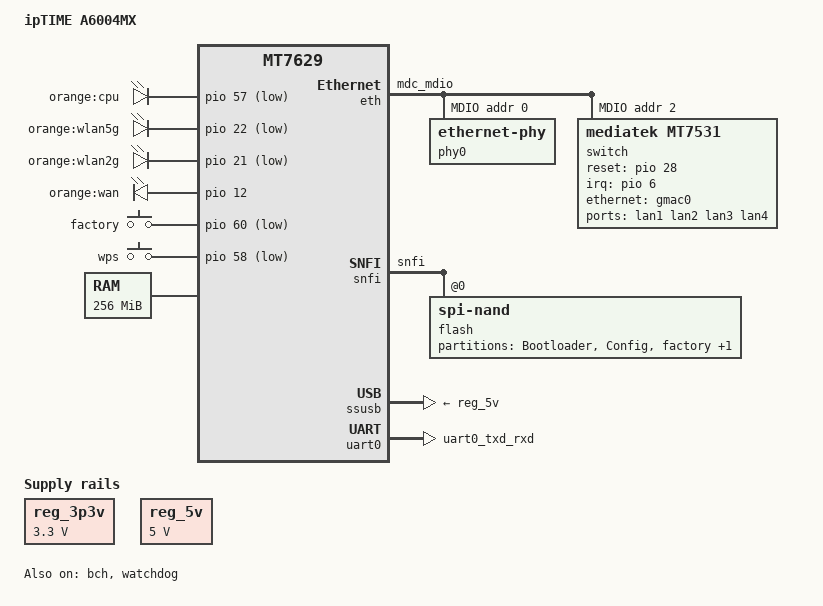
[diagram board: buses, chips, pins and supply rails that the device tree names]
// SPDX-License-Identifier: GPL-2.0

/dts-v1/;
#include <dt-bindings/input/input.h>
#include "mt7629.dtsi"

/ {
	model = "ipTIME A6004MX";
	compatible = "iptime,a6004mx", "mediatek,mt7629";

	aliases {
		led-boot = &led_cpu;
		led-failsafe = &led_cpu;
		led-running = &led_cpu;
		led-upgrade = &led_cpu;
		serial0 = &uart0;
	};

	chosen {
		stdout-path = "serial0:115200n8";
		bootargs-override = "console=ttyS0,115200n8";
	};

	leds {
		compatible = "gpio-leds";

		led_cpu: cpu {
			label = "orange:cpu";
			gpios = <&pio 57 GPIO_ACTIVE_LOW>;
		};

		wlan5g {
			label = "orange:wlan5g";
			gpios = <&pio 22 GPIO_ACTIVE_LOW>;
			// linux,default-trigger = "phy0radio";
		};

		wlan2g {
			label = "orange:wlan2g";
			gpios = <&pio 21 GPIO_ACTIVE_LOW>;
			// linux,default-trigger = "phy1radio";
		};

		wan {
			label = "orange:wan";
			gpios = <&pio 12 GPIO_ACTIVE_HIGH>;
		};
	};

	keys {
		compatible = "gpio-keys";

		reset {
			label = "factory";
			linux,code = <KEY_RESTART>;
			gpios = <&pio 60 GPIO_ACTIVE_LOW>;
		};

		wps {
			label = "wps";
			linux,code = <KEY_WPS_BUTTON>;
			gpios = <&pio 58 GPIO_ACTIVE_LOW>;
		};
	};

	memory@40000000 {
		device_type = "memory";
		reg = <0x40000000 0x10000000>;
	};

	reg_3p3v: regulator-3p3v {
		compatible = "regulator-fixed";
		regulator-name = "fixed-3.3V";
		regulator-min-microvolt = <3300000>;
		regulator-max-microvolt = <3300000>;
		regulator-boot-on;
		regulator-always-on;
	};

	reg_5v: regulator-5v {
		compatible = "regulator-fixed";
		regulator-name = "fixed-5V";
		regulator-min-microvolt = <5000000>;
		regulator-max-microvolt = <5000000>;
		regulator-boot-on;
		regulator-always-on;
	};
};

&eth {
	pinctrl-names = "default";
	pinctrl-0 = <&eth_pins>;
	pinctrl-1 = <&ephy_leds_pins>;
	status = "okay";

	gmac0: mac@0 {
		compatible = "mediatek,eth-mac";
		reg = <0>;
		phy-mode = "2500base-x";
		nvmem-cells = <&macaddr_factory_4>;
		nvmem-cell-names = "mac-address";
		mac-address-increment = <3>;

		fixed-link {
			speed = <2500>;
			full-duplex;
			pause;
		};
	};

	gmac1: mac@1 {
		compatible = "mediatek,eth-mac";
		reg = <1>;
		phy-mode = "gmii";
		phy-handle = <&phy0>;
		nvmem-cells = <&macaddr_factory_4>;
		nvmem-cell-names = "mac-address";
		mac-address-increment = <1>;
	};

	mdio: mdio-bus {
		#address-cells = <1>;
		#size-cells = <0>;

		phy0: ethernet-phy@0 {
			reg = <0>;
		};

		switch@2 {
			compatible = "mediatek,mt7531";
			reg = <2>;
			reset-gpios = <&pio 28 0>;
			interrupt-controller;
			#interrupt-cells = <1>;
			interrupt-parent = <&pio>;
			interrupts = <6 IRQ_TYPE_LEVEL_HIGH>;

			ports {
				#address-cells = <1>;
				#size-cells = <0>;

				port@0 {
					reg = <0>;
					label = "lan1";
				};

				port@1 {
					reg = <1>;
					label = "lan2";
				};

				port@2 {
					reg = <2>;
					label = "lan3";
				};

				port@3 {
					reg = <3>;
					label = "lan4";
				};

				port@6 {
					reg = <6>;
					ethernet = <&gmac0>;
					phy-mode = "2500base-x";

					fixed-link {
						speed = <2500>;
						full-duplex;
						pause;
					};
				};
			};
		};
	};
};

&bch {
	status = "okay";
};

&snfi {
	pinctrl-names = "default";
	pinctrl-0 = <&serial_nand_pins>;
	status = "okay";
	flash@0 {
		compatible = "spi-nand";
		reg = <0>;
		spi-tx-bus-width = <4>;
		spi-rx-bus-width = <4>;
		nand-ecc-engine = <&snfi>;
		mediatek,bmt-v2;

		partitions {
			compatible = "fixed-partitions";
			#address-cells = <1>;
			#size-cells = <1>;

			partition@0 {
				label = "Bootloader";
				reg = <0x0 0x100000>;
				read-only;
			};

			partition@100000 {
				label = "Config";
				reg = <0x100000 0x40000>;
			};

			partition@140000 {
				label = "factory";
				reg = <0x140000 0x80000>;
				read-only;

				compatible = "nvmem-cells";
				#address-cells = <1>;
				#size-cells = <1>;

				macaddr_factory_4: macaddr@4 {
					reg = <0x4 0x6>;
				};
			};

			partition@1c0000 {
				label = "firmware";
				reg = <0x1c0000 0x7400000>;
				compatible = "denx,fit";
				openwrt,fit-offset = <0x800>;
			};
		};
	};
};

&pio {
	eth_pins: eth-pins {
		mux {
			function = "eth";
			groups = "mdc_mdio";
		};
	};

	ephy_leds_pins: ephy-leds-pins {
		mux {
			function = "led";
			groups = "ephy_leds";
		};
	};

	/* Serial NAND is shared pin with SPI-NOR */
	serial_nand_pins: serial-nand-pins {
		mux {
			function = "flash";
			groups = "snfi";
		};
	};

	uart0_pins: uart0-pins {
		mux {
			function = "uart";
			groups = "uart0_txd_rxd" ;
		};
	};

	watchdog_pins: watchdog-pins {
		mux {
			function = "watchdog";
			groups = "watchdog";
		};
	};
};

&ssusb {
	vusb33-supply = <&reg_3p3v>;
	vbus-supply = <&reg_5v>;
	status = "okay";
};

&uart0 {
	pinctrl-names = "default";
	pinctrl-0 = <&uart0_pins>;
	status = "okay";
};

&watchdog {
	pinctrl-names = "default";
	pinctrl-0 = <&watchdog_pins>;
	status = "okay";

	interrupt-controller;
	#interrupt-cells = <1>;
	interrupt-parent = <&pio>;
	interrupts = <GIC_SPI 0x80 IRQ_TYPE_EDGE_FALLING>;
};
